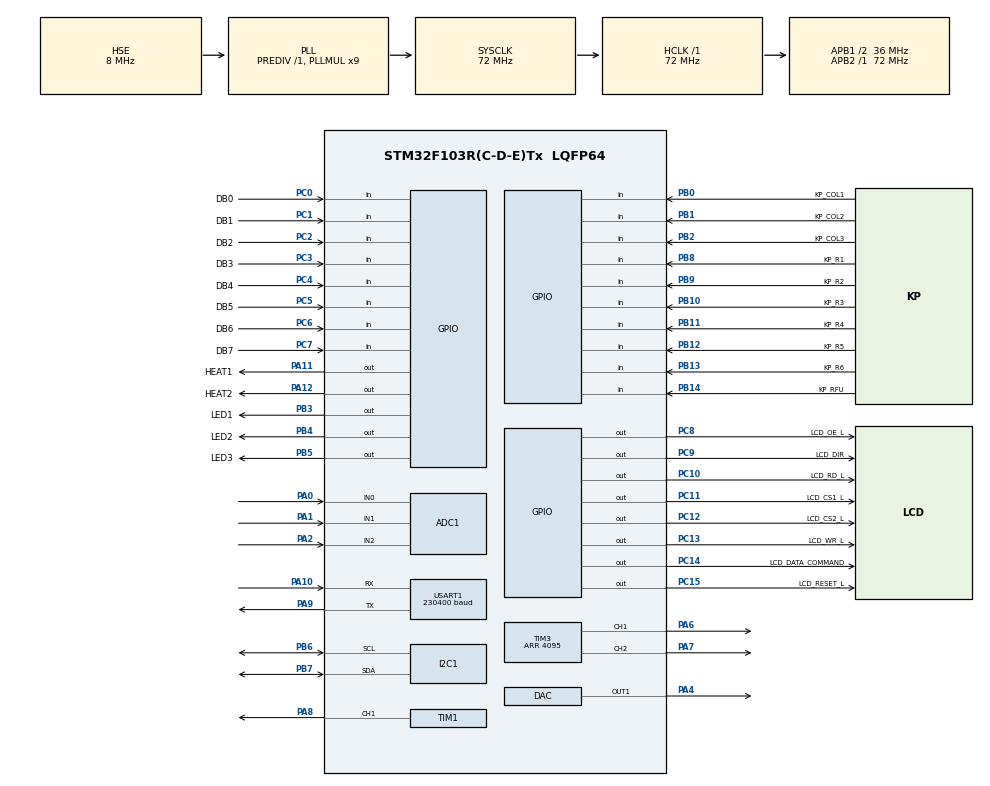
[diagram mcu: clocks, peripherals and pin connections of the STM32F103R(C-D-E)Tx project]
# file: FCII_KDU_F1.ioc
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ADC1.Channel-0\#ChannelRegularConversion=ADC_CHANNEL_0
ADC1.Channel-1\#ChannelRegularConversion=ADC_CHANNEL_1
ADC1.Channel-2\#ChannelRegularConversion=ADC_CHANNEL_2
ADC1.Channel-3\#ChannelRegularConversion=ADC_CHANNEL_TEMPSENSOR
ADC1.ContinuousConvMode=ENABLE
ADC1.ExternalTrigConv=ADC_EXTERNALTRIGCONV_T3_TRGO
ADC1.NbrOfConversion=4
ADC1.NbrOfConversionFlag=1
ADC1.Rank-0\#ChannelRegularConversion=1
ADC1.Rank-1\#ChannelRegularConversion=2
ADC1.Rank-2\#ChannelRegularConversion=3
ADC1.Rank-3\#ChannelRegularConversion=4
ADC1.SamplingTime-0\#ChannelRegularConversion=ADC_SAMPLETIME_239CYCLES_5
ADC1.SamplingTime-1\#ChannelRegularConversion=ADC_SAMPLETIME_239CYCLES_5
ADC1.SamplingTime-2\#ChannelRegularConversion=ADC_SAMPLETIME_239CYCLES_5
ADC1.SamplingTime-3\#ChannelRegularConversion=ADC_SAMPLETIME_239CYCLES_5
ADC1.master=1
Dma.ADC1.2.Direction=DMA_PERIPH_TO_MEMORY
Dma.ADC1.2.Instance=DMA1_Channel1
Dma.ADC1.2.MemDataAlignment=DMA_MDATAALIGN_HALFWORD
Dma.ADC1.2.MemInc=DMA_MINC_ENABLE
Dma.ADC1.2.Mode=DMA_CIRCULAR
Dma.ADC1.2.PeriphDataAlignment=DMA_PDATAALIGN_HALFWORD
Dma.ADC1.2.PeriphInc=DMA_PINC_DISABLE
Dma.ADC1.2.Priority=DMA_PRIORITY_LOW
Dma.Request0=USART1_RX
Dma.Request1=USART1_TX
Dma.Request2=ADC1
Dma.USART1_RX.0.Direction=DMA_PERIPH_TO_MEMORY
Dma.USART1_RX.0.Instance=DMA1_Channel5
Dma.USART1_RX.0.MemDataAlignment=DMA_MDATAALIGN_BYTE
Dma.USART1_RX.0.MemInc=DMA_MINC_ENABLE
Dma.USART1_RX.0.Mode=DMA_CIRCULAR
Dma.USART1_RX.0.PeriphDataAlignment=DMA_PDATAALIGN_BYTE
Dma.USART1_RX.0.PeriphInc=DMA_PINC_DISABLE
Dma.USART1_RX.0.Priority=DMA_PRIORITY_LOW
Dma.USART1_TX.1.Direction=DMA_MEMORY_TO_PERIPH
Dma.USART1_TX.1.Instance=DMA1_Channel4
Dma.USART1_TX.1.MemDataAlignment=DMA_MDATAALIGN_BYTE
Dma.USART1_TX.1.MemInc=DMA_MINC_ENABLE
Dma.USART1_TX.1.Mode=DMA_NORMAL
Dma.USART1_TX.1.PeriphDataAlignment=DMA_PDATAALIGN_BYTE
Dma.USART1_TX.1.PeriphInc=DMA_PINC_DISABLE
Dma.USART1_TX.1.Priority=DMA_PRIORITY_LOW
FREERTOS.HEAP_NUMBER=4
FREERTOS.Tasks01=defaultTask,24,1024,StartDefaultTask,Default,NULL,Dynamic,NULL,NULL;serialTask,8,512,StartserialTask,Default,NULL,Dynamic,NULL,NULL
FREERTOS.configTOTAL_HEAP_SIZE=32768
FREERTOS.configUSE_NEWLIB_REENTRANT=1
IWDG.Prescaler=IWDG_PRESCALER_32
Mcu.Family=STM32F1
Mcu.Name=STM32F103R(C-D-E)Tx
Mcu.Package=LQFP64
NVIC.DMA1_Channel1_IRQn=true\:5\:0\:false\:false\:true\:true\:false\:true\:true
NVIC.DMA1_Channel4_IRQn=true\:5\:0\:false\:false\:true\:true\:false\:true\:true
NVIC.DMA1_Channel5_IRQn=true\:5\:0\:false\:false\:true\:true\:false\:true\:true
NVIC.PriorityGroup=NVIC_PRIORITYGROUP_4
NVIC.TIM8_UP_IRQn=true\:15\:0\:false\:false\:true\:false\:false\:true\:true
NVIC.TimeBase=TIM8_UP_IRQn
NVIC.TimeBaseIP=TIM8
NVIC.USART1_IRQn=true\:5\:0\:false\:false\:true\:true\:true\:true\:true
PA0-WKUP.Signal=ADCx_IN0
PA1.Signal=ADCx_IN1
PA10.Mode=Asynchronous
PA10.Signal=USART1_RX
PA11.GPIO_Label=HEAT1
PA11.Signal=GPIO_Output
PA12.GPIO_Label=HEAT2
PA12.Signal=GPIO_Output
PA13.Mode=Serial_Wire
PA13.Signal=SYS_JTMS-SWDIO
PA14.Mode=Serial_Wire
PA14.Signal=SYS_JTCK-SWCLK
PA2.Signal=ADCx_IN2
PA4.Signal=COMP_DAC1_group
PA6.Signal=S_TIM3_CH1
PA7.Signal=S_TIM3_CH2
PA8.Signal=S_TIM1_CH1
PA9.Mode=Asynchronous
PA9.Signal=USART1_TX
PB0.GPIO_Label=KP_COL1
PB0.Signal=GPIO_Input
PB1.GPIO_Label=KP_COL2
PB1.Signal=GPIO_Input
PB10.GPIO_Label=KP_R3
PB10.Signal=GPIO_Input
PB11.GPIO_Label=KP_R4
PB11.Signal=GPIO_Input
PB12.GPIO_Label=KP_R5
PB12.Signal=GPIO_Input
PB13.GPIO_Label=KP_R6
PB13.Signal=GPIO_Input
PB14.GPIO_Label=KP_RFU
PB14.Signal=GPIO_Input
PB2.GPIO_Label=KP_COL3
PB2.Signal=GPIO_Input
PB3.GPIO_Label=LED1
PB3.Signal=GPIO_Output
PB4.GPIO_Label=LED2
PB4.Signal=GPIO_Output
PB5.GPIO_Label=LED3
PB5.Signal=GPIO_Output
PB6.Mode=I2C
PB6.Signal=I2C1_SCL
PB7.Mode=I2C
PB7.Signal=I2C1_SDA
PB8.GPIO_Label=KP_R1
PB8.Signal=GPIO_Input
PB9.GPIO_Label=KP_R2
PB9.Signal=GPIO_Input
PC0.GPIO_Label=DB0
PC0.Signal=GPIO_Input
PC1.GPIO_Label=DB1
PC1.Signal=GPIO_Input
PC10.GPIO_Label=LCD_RD_L
PC10.PinState=GPIO_PIN_SET
PC10.Signal=GPIO_Output
PC11.GPIO_Label=LCD_CS1_L
PC11.PinState=GPIO_PIN_SET
PC11.Signal=GPIO_Output
PC12.GPIO_Label=LCD_CS2_L
PC12.PinState=GPIO_PIN_SET
PC12.Signal=GPIO_Output
PC13-TAMPER-RTC.GPIO_Label=LCD_WR_L
PC13-TAMPER-RTC.PinState=GPIO_PIN_SET
PC13-TAMPER-RTC.Signal=GPIO_Output
PC14-OSC32_IN.GPIO_Label=LCD_DATA_COMMAND
PC14-OSC32_IN.Signal=GPIO_Output
PC15-OSC32_OUT.GPIO_Label=LCD_RESET_L
PC15-OSC32_OUT.Signal=GPIO_Output
PC2.GPIO_Label=DB2
PC2.Signal=GPIO_Input
PC3.GPIO_Label=DB3
PC3.Signal=GPIO_Input
PC4.GPIO_Label=DB4
PC4.Signal=GPIO_Input
PC5.GPIO_Label=DB5
PC5.Signal=GPIO_Input
PC6.GPIO_Label=DB6
PC6.Signal=GPIO_Input
PC7.GPIO_Label=DB7
PC7.Signal=GPIO_Input
PC8.GPIO_Label=LCD_OE_L
PC8.PinState=GPIO_PIN_SET
PC8.Signal=GPIO_Output
PC9.GPIO_Label=LCD_DIR
PC9.Signal=GPIO_Output
PD0-OSC_IN.Mode=HSE-External-Oscillator
PD0-OSC_IN.Signal=RCC_OSC_IN
PD1-OSC_OUT.Mode=HSE-External-Oscillator
PD1-OSC_OUT.Signal=RCC_OSC_OUT
ProjectManager.HeapSize=0x200
ProjectManager.StackSize=0x400
ProjectManager.TargetToolchain=STM32CubeIDE
RCC.ADCPresc=RCC_ADCPCLK2_DIV6
RCC.AHBFreq_Value=72000000
RCC.APB1CLKDivider=RCC_HCLK_DIV2
RCC.APB1Freq_Value=36000000
RCC.APB1TimFreq_Value=72000000
RCC.APB2Freq_Value=72000000
RCC.APB2TimFreq_Value=72000000
RCC.HCLKFreq_Value=72000000
RCC.PLLMUL=RCC_PLL_MUL9
RCC.PLLSourceVirtual=RCC_PLLSOURCE_HSE
RCC.SYSCLKFreq_VALUE=72000000
RCC.SYSCLKSource=RCC_SYSCLKSOURCE_PLLCLK
RCC.USBFreq_Value=72000000
SH.ADCx_IN0.0=ADC1_IN0,IN0
SH.ADCx_IN1.0=ADC1_IN1,IN1
SH.ADCx_IN2.0=ADC1_IN2,IN2
SH.COMP_DAC1_group.0=DAC_OUT1,DAC_OUT1
SH.S_TIM1_CH1.0=TIM1_CH1,PWM Generation1 CH1
SH.S_TIM3_CH1.0=TIM3_CH1,PWM Generation1 CH1
SH.S_TIM3_CH2.0=TIM3_CH2,PWM Generation2 CH2
TIM1.AutoReloadPreload=TIM_AUTORELOAD_PRELOAD_ENABLE
TIM1.Channel-PWM\ Generation1\ CH1=TIM_CHANNEL_1
TIM1.ClockDivision=TIM_CLOCKDIVISION_DIV4
TIM1.Period=9000
TIM1.Pulse-PWM\ Generation1\ CH1=4500
TIM3.AutoReloadPreload=TIM_AUTORELOAD_PRELOAD_ENABLE
TIM3.Channel-PWM\ Generation1\ CH1=TIM_CHANNEL_1
TIM3.Channel-PWM\ Generation2\ CH2=TIM_CHANNEL_2
TIM3.ClockDivision=TIM_CLOCKDIVISION_DIV4
TIM3.Period=4095
TIM3.TIM_MasterOutputTrigger=TIM_TRGO_UPDATE
USART1.BaudRate=230400
USART1.VirtualMode=VM_ASYNC
VP_ADC1_TempSens_Input.Mode=IN-TempSens
VP_CRC_VS_CRC.Mode=CRC_Activate
VP_FREERTOS_VS_CMSIS_V2.Mode=CMSIS_V2
VP_IWDG_VS_IWDG.Mode=IWDG_Activate
VP_SYS_VS_tim8.Mode=TIM8
VP_TIM1_VS_ClockSourceINT.Mode=Internal
VP_TIM2_VS_ClockSourceINT.Mode=Internal
VP_TIM3_VS_ClockSourceINT.Mode=Internal
board=custom

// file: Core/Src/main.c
/* USER CODE BEGIN Header */
/**
 ******************************************************************************
 * @file           : main.c
 * @brief          : Main program body
 ******************************************************************************
 * @attention
 *
 * Copyright (c) 2024 STMicroelectronics.
 * All rights reserved.
 *
 * This software is licensed under terms that can be found in the LICENSE file
 * in the root directory of this software component.
 * If no LICENSE file comes with this software, it is provided AS-IS.
 *
 ******************************************************************************
 */
/* USER CODE END Header */
#include "main.h"
#include "cmsis_os.h"

/* USER CODE BEGIN Includes */
#include "stdbool.h"
#include "crc32.h"
#include "SSD1500.h"
#include "math.h"
#include "stdio.h"
#include "string.h"
#include "stdlib.h"
#include "KDU.h"
/* USER CODE END Includes */

/* USER CODE BEGIN PD */

#define LCD_WIDTH 122
#define LCD_HEIGHT 4
uint8_t image[LCD_HEIGHT][LCD_WIDTH];

#define ARRAY_LEN(x)            (sizeof(x) / sizeof((x)[0]))
#define MIN(i, j) (((i) < (j)) ? (i) : (j))
#define MAX(i, j) (((i) > (j)) ? (i) : (j))

#define KeypadDebounce 5

extern const unsigned char epd_bitmap_Bootsplash_copy[488];
extern const unsigned char font5x7[1330];

#include "GLCD.h"

DisplayData_t displaydata[2];
volatile DisplayData_t *validdisplay;
volatile DisplayData_t *receivingdisplay;

const char Default_TopLine[32] = "H AF ---- V60 48WBHA T DP- DMR";
const char Default_BotLine[32] = "  BT ---- SCN 123456 T SPX  AM";
const char Default_Freq1Line[21] = " LD1NR Loc. 06 ------";
const char Default_Freq2Line[21] = " ENKJ Traff 01 ------";

char UART1TXBuffer[2048];
char UART1_RX_Buffer[1024];
char UART1_RX_Buffer_Decode[512];
volatile bool ReceivedDisplayData;

reset_cause_t rstcause;

typedef struct
{
	uint8_t SerialNo;
	uint8_t pad;
	uint16_t LCD_Contrast;
	uint32_t _CRC;
} FRAM_Data_t;

FRAM_Data_t poweronfram;
bool poweronframvalid;
FRAM_Data_t writefram;
bool writefram_;
bool writeframok;

/* USER CODE END PD */

ADC_HandleTypeDef hadc1;
DMA_HandleTypeDef hdma_adc1;

CRC_HandleTypeDef hcrc;

DAC_HandleTypeDef hdac;

I2C_HandleTypeDef hi2c1;

IWDG_HandleTypeDef hiwdg;

TIM_HandleTypeDef htim1;
TIM_HandleTypeDef htim2;
TIM_HandleTypeDef htim3;

UART_HandleTypeDef huart1;
DMA_HandleTypeDef hdma_usart1_rx;
DMA_HandleTypeDef hdma_usart1_tx;

/* Definitions for defaultTask */
osThreadId_t defaultTaskHandle;
const osThreadAttr_t defaultTask_attributes =
{ .name = "defaultTask", .stack_size = 1024 * 4, .priority =
		(osPriority_t) osPriorityNormal, };
/* Definitions for serialTask */
osThreadId_t serialTaskHandle;
const osThreadAttr_t serialTask_attributes =
{ .name = "serialTask", .stack_size = 512 * 4, .priority =
		(osPriority_t) osPriorityLow, };

void SystemClock_Config(void);
static void MX_GPIO_Init(void);
static void MX_DMA_Init(void);
static void MX_ADC1_Init(void);
static void MX_DAC_Init(void);
static void MX_USART1_UART_Init(void);
static void MX_I2C1_Init(void);
static void MX_TIM1_Init(void);
static void MX_TIM3_Init(void);
static void MX_TIM2_Init(void);
static void MX_CRC_Init(void);
static void MX_IWDG_Init(void);
void StartDefaultTask(void *argument);
void StartserialTask(void *argument);

/* USER CODE BEGIN PFP */

void InitDisplayData(DisplayData_t *data)
{
	memcpy(&data->TopLine, &Default_TopLine, sizeof(Default_TopLine));
	memcpy(&data->BottomLine, &Default_BotLine, sizeof(Default_BotLine));
	memcpy(&data->Frequency1Line, &Default_Freq1Line,
			sizeof(Default_Freq1Line));
	memcpy(&data->Frequency2Line, &Default_Freq2Line,
			sizeof(Default_Freq2Line));
	data->Arrow1 = 1;
	data->Arrow2 = 0;
	data->TextMode = 0;
	data->Line1BarGraph = 15;
	data->Line1BarGraph2 = -1;
	data->Line2BarGraph = 20;
	data->Line2BarGraph = -1;
	data->TopBarGraph = 4;
	data->TopBarGraph = -1;
	data->BottomBarGraph = 18;
	data->BottomBarGraph = -1;
	data->LCD_Contrast = 2700;
	data->LED = 2;
	data->Backlight = 4095;
	data->Backlight_Minimum = 100;
}

int SerializeArray(uint8_t source, uint8_t datatype, uint16_t size,
		const char *sourceptr, char *outptr, size_t outsize, bool newline)
{
	int count = 0;

	uint32_t crc = xcrc32((const unsigned char*) sourceptr, size, 0);
	// print the start byte and header info
	// : [source] [data type] [size of payload - header] [crc-32] |
	count = snprintf(outptr, outsize, ":%02X%02X%04X%08lX|", source, datatype,
			size, crc);

	int loopcount = 0;

	for (int i = 0; i < size; i++)
	{
		// print one byte as ASCII hex
		// starting at the end of the size field
		loopcount += snprintf((outptr + count) + loopcount,
				outsize - (i * 2) - count, "%02X", (uint8_t) *sourceptr);
		// go to next byte
		sourceptr++;
	}
	// update our array position
	count += loopcount;
	// add end-of-line
	if (newline)
		count += snprintf(outptr + count, outsize - count, "\r\n");
	else
		count += snprintf(outptr + count, outsize - count, "\r");

	return count;
}

void USART1_Process_New_Data(const char *data, size_t len)
{
	static int RXState = 0;
	static int RXBufferIdx = 0;
	const char framestart = ':';
	const char framestop = '\r';
	const int sourceoffset = 1;
	const int messageoffset = 3;
	const int sizeoffset = 5;
	const int crcoffset = 9;
	const int pipeoffset = 17;
	const int payloadoffset = 18;
	for (int i = 0; i < len; i++)
	{
		char newchar = data[i];
		if (newchar == framestart)
		{
			RXState = 1;
			memset(&UART1_RX_Buffer_Decode, 0, sizeof(UART1_RX_Buffer_Decode));
			RXBufferIdx = 0;
		}

		// accumulating characters
		if (RXState == 1)
		{
			// abort if we receive invalid characters
			// allowed characters are: decimal 32-126 (printable range), newline, and carriage return
			if (newchar < 32 || newchar > 126)
				if (newchar != '\n' && newchar != '\r')
					RXState = 0;
			UART1_RX_Buffer_Decode[RXBufferIdx] = newchar;
			RXBufferIdx++;
			if (RXBufferIdx >= sizeof(UART1_RX_Buffer_Decode))
				RXBufferIdx = sizeof(UART1_RX_Buffer_Decode) - 1;
		}

		if (newchar == framestop && UART1_RX_Buffer_Decode[pipeoffset] == '|'
				&& RXState == 1)
		{
			RXState = 2;
			char buf[9];
			memset(buf, 0, sizeof(buf));
			char *end;
			memcpy(buf, &UART1_RX_Buffer_Decode[sourceoffset], 2);
			// decode source, 0=Radio
			int source = strtoul(buf, &end, 16);

			memcpy(buf, &UART1_RX_Buffer_Decode[messageoffset], 2);
			// message ID
			int message = strtoul(buf, &end, 16);

			memcpy(buf, &UART1_RX_Buffer_Decode[sizeoffset], 4);
			// check size of data we've got
			int payloadsize = strtoul(buf, &end, 16);

			memcpy(buf, &UART1_RX_Buffer_Decode[crcoffset], 8);

			uint32_t rxcrc = strtoul(buf, &end, 16);

			memset(buf, 0, sizeof(buf));

			// handle the DisplayData_t message
			if (source == 3 && message == 1
					&& payloadsize == sizeof(DisplayData_t))
			{
				for (int i = 0; i < sizeof(DisplayData_t); i++)
				{
					memcpy(buf,
							&UART1_RX_Buffer_Decode[(i * 2) + payloadoffset],
							2);
					uint8_t byteval = strtoul(buf, &end, 16);
					*((uint8_t*) receivingdisplay + i) = byteval;
				}
				uint32_t crc = xcrc32((uint8_t*) receivingdisplay,
						sizeof(DisplayData_t), 0);
				if (crc == rxcrc)
				{
					// on receiving a valid command, we swap the valid/receiving pointers
					// this avoids any copies etc.
					// though the display could glitch for one cycle if it's swapped during rendering
					// this seems unproblematic, since it would be corrected on the next frame
					volatile DisplayData_t *oldvalid = validdisplay;
					validdisplay = receivingdisplay;
					receivingdisplay = oldvalid;
					ReceivedDisplayData = true;
				}

			}
			/*else if (source == 3 && message == 2 && payloadsize == sizeof(RF5980_CMD2_t))
			 {
			 for (int i = 0; i < sizeof(RF5980_CMD2_t); i++)
			 {
			 memcpy(buf, &UART1_RX_Buffer_Decode[(i*2)+payloadoffset], 2);
			 uint8_t byteval = strtoul(buf, &end, 16);
			 *((uint8_t*)&LastCMD2 + i) = byteval;
			 }
			 uint32_t crc = xcrc32((uint8_t*)&LastCMD2, sizeof(RF5980_CMD2_t), 0);
			 LastCMD2CRCOk = crc == rxcrc;
			 LastCMD2Processed = !LastCMD2CRCOk;
			 }*/
		}
	}
}

void USART1_DMA_New_Data(bool reset)
{
	static size_t old_pos;
	size_t pos;

	if (reset)
	{
		old_pos = 0;
		return;
	}

	/* Calculate current position in buffer */
	pos = ARRAY_LEN(UART1_RX_Buffer) - __HAL_DMA_GET_COUNTER(&hdma_usart1_rx); //LL_DMA_GetDataLength(DMA1, LL_DMA_CHANNEL_5);
	if (pos != old_pos)
	{ /* Check change in received data */
		if (pos > old_pos)
		{ /* Current position is over previous one */
			/* We are in "linear" mode */
			/* Process data directly by subtracting "pointers" */
			USART1_Process_New_Data(&UART1_RX_Buffer[old_pos], pos - old_pos);
		}
		else
		{
			/* We are in "overflow" mode */
			/* First process data to the end of buffer */
			USART1_Process_New_Data(&UART1_RX_Buffer[old_pos],
					ARRAY_LEN(UART1_RX_Buffer) - old_pos);
			/* Check and continue with beginning of buffer */
			if (pos > 0)
			{
				USART1_Process_New_Data(&UART1_RX_Buffer[0], pos);
			}
		}
	}
	old_pos = pos; /* Save current position as old */

	/* Check and manually update if we reached end of buffer */
	if (old_pos == ARRAY_LEN(UART1_RX_Buffer))
	{
		old_pos = 0;
	}
}

bool LoadFRAM(int offset, int bank, FRAM_Data_t *data)
{
	// load F-RAM
	HAL_StatusTypeDef status = HAL_I2C_Mem_Read(&hi2c1, 0xA0 + bank, 0,
			I2C_MEMADD_SIZE_8BIT, (uint8_t*) data, sizeof(FRAM_Data_t), 10);
	uint32_t calculatedcrc = xcrc32((const unsigned char*) data,
			sizeof(FRAM_Data_t) - sizeof(uint32_t), 0);
	return (calculatedcrc == data->_CRC) && status == HAL_OK;
}

bool WriteFRAM(int offset, int bank, FRAM_Data_t *data)
{
	// calculate CRC for write
	data->_CRC = xcrc32((const unsigned char*) data,
			sizeof(FRAM_Data_t) - sizeof(uint32_t), 0);
	// write data
	HAL_StatusTypeDef status = HAL_I2C_Mem_Write(&hi2c1, 0xA0 + bank, offset,
			I2C_MEMADD_SIZE_8BIT, (uint8_t*) data, sizeof(FRAM_Data_t), 10);
	// read back
	FRAM_Data_t verify;
	HAL_I2C_Mem_Read(&hi2c1, 0xA0 + bank, 0, I2C_MEMADD_SIZE_8BIT,
			(uint8_t*) &verify, sizeof(FRAM_Data_t), 10);
	// calculate CRC
	uint32_t readbackcrc = xcrc32((const unsigned char*) &verify,
			sizeof(FRAM_Data_t) - sizeof(uint32_t), 0);
	// return true if both readback ok and write ok
	return (readbackcrc == data->_CRC) && status == HAL_OK;
}

/* USER CODE END PFP */

/* USER CODE BEGIN 0 */

void TimerDelay_Init(void)
{
	uint32_t gu32_ticks = (HAL_RCC_GetHCLKFreq() / 1000000);

	TIM_ClockConfigTypeDef sClockSourceConfig =
	{ 0 };
	TIM_MasterConfigTypeDef sMasterConfig =
	{ 0 };

	htim2.Init.Prescaler = gu32_ticks - 1;
	htim2.Init.CounterMode = TIM_COUNTERMODE_UP;
	htim2.Init.Period = 65535;
	htim2.Init.ClockDivision = TIM_CLOCKDIVISION_DIV1;
	htim2.Init.AutoReloadPreload = TIM_AUTORELOAD_PRELOAD_ENABLE;
	if (HAL_TIM_Base_Init(&htim2) != HAL_OK)
	{
		Error_Handler();
	}
	sClockSourceConfig.ClockSource = TIM_CLOCKSOURCE_INTERNAL;
	if (HAL_TIM_ConfigClockSource(&htim2, &sClockSourceConfig) != HAL_OK)
	{
		Error_Handler();
	}
	sMasterConfig.MasterOutputTrigger = TIM_TRGO_RESET;
	sMasterConfig.MasterSlaveMode = TIM_MASTERSLAVEMODE_DISABLE;
	if (HAL_TIMEx_MasterConfigSynchronization(&htim2, &sMasterConfig) != HAL_OK)
	{
		Error_Handler();
	}

	HAL_TIM_Base_Start(&htim2);
}

void delay_us(uint16_t au16_us)
{
	osKernelLock();
	htim2.Instance->CNT = 0;
	while (htim2.Instance->CNT < au16_us)
		;
	osKernelUnlock();
}

/// @brief      Obtain the STM32 system reset cause
/// @param      None
/// @return     The system reset cause
reset_cause_t reset_cause_get(void)
{
	reset_cause_t reset_cause;
	if (__HAL_RCC_GET_FLAG(RCC_FLAG_LPWRRST))
	{
		reset_cause = RESET_CAUSE_LOW_POWER_RESET;
	}
	else if (__HAL_RCC_GET_FLAG(RCC_FLAG_WWDGRST))
	{
		reset_cause = RESET_CAUSE_WINDOW_WATCHDOG_RESET;
	}
	else if (__HAL_RCC_GET_FLAG(RCC_FLAG_IWDGRST))
	{
		reset_cause = RESET_CAUSE_INDEPENDENT_WATCHDOG_RESET;
	}
	else if (__HAL_RCC_GET_FLAG(RCC_FLAG_SFTRST))
	{
		// This reset is induced by calling the ARM CMSIS
		// `NVIC_SystemReset()` function!
		reset_cause = RESET_CAUSE_SOFTWARE_RESET;
	}
	else if (__HAL_RCC_GET_FLAG(RCC_FLAG_PORRST))
	{
		reset_cause = RESET_CAUSE_POWER_ON_POWER_DOWN_RESET;
	}
	else if (__HAL_RCC_GET_FLAG(RCC_FLAG_PINRST))
	{
		reset_cause = RESET_CAUSE_EXTERNAL_RESET_PIN_RESET;
	}
	// Needs to come *after* checking the `RCC_FLAG_PORRST` flag in order to
	// ensure first that the reset cause is NOT a POR/PDR reset. See note
	// below.
	/*else if (__HAL_RCC_GET_FLAG(RCC_FLAG_BORRST))
	 {
	 reset_cause = RESET_CAUSE_BROWNOUT_RESET;
	 }*/
	else
	{
		reset_cause = RESET_CAUSE_UNKNOWN;
	}

	// Clear all the reset flags or else they will remain set during future
	// resets until system power is fully removed.
	__HAL_RCC_CLEAR_RESET_FLAGS();

	return reset_cause;
}

/* USER CODE END 0 */

int main(void)
{

	/* USER CODE BEGIN 1 */
	__HAL_DBGMCU_FREEZE_IWDG();
	__HAL_DBGMCU_FREEZE_WWDG();
	/* USER CODE END 1 */

	/* MCU Configuration--------------------------------------------------------*/

	/* Reset of all peripherals, Initializes the Flash interface and the Systick. */
	HAL_Init();

	/* USER CODE BEGIN Init */
	rstcause = reset_cause_get();
	/* USER CODE END Init */

	/* Configure the system clock */
	SystemClock_Config();

	/* Initialize all configured peripherals */
	MX_GPIO_Init();
	MX_DMA_Init();
	MX_ADC1_Init();
	MX_DAC_Init();
	MX_USART1_UART_Init();
	MX_I2C1_Init();
	MX_TIM1_Init();
	MX_TIM3_Init();
	MX_TIM2_Init();
	MX_CRC_Init();
	MX_IWDG_Init();
	/* USER CODE BEGIN 2 */
	validdisplay = &displaydata[0];
	receivingdisplay = &displaydata[1];

	// try to read the F-RAM
	poweronframvalid = LoadFRAM(0, 0, &poweronfram);
	if (!poweronframvalid)
		poweronframvalid = LoadFRAM(0, 1, &poweronfram);

	if (!poweronframvalid)
		memset(&poweronfram, 0, sizeof(FRAM_Data_t));
	else
		memcpy(&writefram, &poweronfram, sizeof(FRAM_Data_t));

	/* USER CODE END 2 */

	/* Init scheduler */
	osKernelInitialize();

	/* Create the thread(s) */
	/* creation of defaultTask */
	defaultTaskHandle = osThreadNew(StartDefaultTask, NULL,
			&defaultTask_attributes);

	/* creation of serialTask */
	serialTaskHandle = osThreadNew(StartserialTask, NULL,
			&serialTask_attributes);

	/* Start scheduler */
	osKernelStart();

	/* We should never get here as control is now taken by the scheduler */

	/* Infinite loop */
	while (1)
	{

	}
}

void SystemClock_Config(void)
{
	RCC_OscInitTypeDef RCC_OscInitStruct =
	{ 0 };
	RCC_ClkInitTypeDef RCC_ClkInitStruct =
	{ 0 };
	RCC_PeriphCLKInitTypeDef PeriphClkInit =
	{ 0 };

	/** Initializes the RCC Oscillators according to the specified parameters
	 * in the RCC_OscInitTypeDef structure.
	 */
	RCC_OscInitStruct.OscillatorType = RCC_OSCILLATORTYPE_LSI
			| RCC_OSCILLATORTYPE_HSE;
	RCC_OscInitStruct.HSEState = RCC_HSE_ON;
	RCC_OscInitStruct.HSEPredivValue = RCC_HSE_PREDIV_DIV1;
	RCC_OscInitStruct.HSIState = RCC_HSI_ON;
	RCC_OscInitStruct.LSIState = RCC_LSI_ON;
	RCC_OscInitStruct.PLL.PLLState = RCC_PLL_ON;
	RCC_OscInitStruct.PLL.PLLSource = RCC_PLLSOURCE_HSE;
	RCC_OscInitStruct.PLL.PLLMUL = RCC_PLL_MUL9;
	if (HAL_RCC_OscConfig(&RCC_OscInitStruct) != HAL_OK)
	{
		Error_Handler();
	}

	/** Initializes the CPU, AHB and APB buses clocks
	 */
	RCC_ClkInitStruct.ClockType = RCC_CLOCKTYPE_HCLK | RCC_CLOCKTYPE_SYSCLK
			| RCC_CLOCKTYPE_PCLK1 | RCC_CLOCKTYPE_PCLK2;
	RCC_ClkInitStruct.SYSCLKSource = RCC_SYSCLKSOURCE_PLLCLK;
	RCC_ClkInitStruct.AHBCLKDivider = RCC_SYSCLK_DIV1;
	RCC_ClkInitStruct.APB1CLKDivider = RCC_HCLK_DIV2;
	RCC_ClkInitStruct.APB2CLKDivider = RCC_HCLK_DIV1;

	if (HAL_RCC_ClockConfig(&RCC_ClkInitStruct, FLASH_LATENCY_2) != HAL_OK)
	{
		Error_Handler();
	}
	PeriphClkInit.PeriphClockSelection = RCC_PERIPHCLK_ADC;
	PeriphClkInit.AdcClockSelection = RCC_ADCPCLK2_DIV6;
	if (HAL_RCCEx_PeriphCLKConfig(&PeriphClkInit) != HAL_OK)
	{
		Error_Handler();
	}
}

static void MX_ADC1_Init(void)
{

	ADC_ChannelConfTypeDef sConfig =
	{ 0 };

	/** Common config
	 */
	hadc1.Instance = ADC1;
	hadc1.Init.ScanConvMode = ADC_SCAN_ENABLE;
	hadc1.Init.ContinuousConvMode = ENABLE;
	hadc1.Init.DiscontinuousConvMode = DISABLE;
	hadc1.Init.ExternalTrigConv = ADC_EXTERNALTRIGCONV_T3_TRGO;
	hadc1.Init.DataAlign = ADC_DATAALIGN_RIGHT;
	hadc1.Init.NbrOfConversion = 4;
	if (HAL_ADC_Init(&hadc1) != HAL_OK)
	{
		Error_Handler();
	}

	/** Configure Regular Channel
	 */
	sConfig.Channel = ADC_CHANNEL_0;
	sConfig.Rank = ADC_REGULAR_RANK_1;
	sConfig.SamplingTime = ADC_SAMPLETIME_239CYCLES_5;
	if (HAL_ADC_ConfigChannel(&hadc1, &sConfig) != HAL_OK)
	{
		Error_Handler();
	}

	/** Configure Regular Channel
	 */
	sConfig.Channel = ADC_CHANNEL_1;
	sConfig.Rank = ADC_REGULAR_RANK_2;
	if (HAL_ADC_ConfigChannel(&hadc1, &sConfig) != HAL_OK)
	{
		Error_Handler();
	}

	/** Configure Regular Channel
	 */
	sConfig.Channel = ADC_CHANNEL_2;
	sConfig.Rank = ADC_REGULAR_RANK_3;
	if (HAL_ADC_ConfigChannel(&hadc1, &sConfig) != HAL_OK)
	{
		Error_Handler();
	}

	/** Configure Regular Channel
	 */
	sConfig.Channel = ADC_CHANNEL_TEMPSENSOR;
	sConfig.Rank = ADC_REGULAR_RANK_4;
	if (HAL_ADC_ConfigChannel(&hadc1, &sConfig) != HAL_OK)
	{
		Error_Handler();
	}

}

static void MX_CRC_Init(void)
{

	hcrc.Instance = CRC;
	if (HAL_CRC_Init(&hcrc) != HAL_OK)
	{
		Error_Handler();
	}

}

static void MX_DAC_Init(void)
{

	DAC_ChannelConfTypeDef sConfig =
	{ 0 };

	/** DAC Initialization
	 */
	hdac.Instance = DAC;
	if (HAL_DAC_Init(&hdac) != HAL_OK)
	{
		Error_Handler();
	}

	/** DAC channel OUT1 config
	 */
	sConfig.DAC_Trigger = DAC_TRIGGER_NONE;
	sConfig.DAC_OutputBuffer = DAC_OUTPUTBUFFER_ENABLE;
	if (HAL_DAC_ConfigChannel(&hdac, &sConfig, DAC_CHANNEL_1) != HAL_OK)
	{
		Error_Handler();
	}

}

static void MX_I2C1_Init(void)
{

	hi2c1.Instance = I2C1;
	hi2c1.Init.ClockSpeed = 100000;
	hi2c1.Init.DutyCycle = I2C_DUTYCYCLE_2;
	hi2c1.Init.OwnAddress1 = 0;
	hi2c1.Init.AddressingMode = I2C_ADDRESSINGMODE_7BIT;
	hi2c1.Init.DualAddressMode = I2C_DUALADDRESS_DISABLE;
	hi2c1.Init.OwnAddress2 = 0;
	hi2c1.Init.GeneralCallMode = I2C_GENERALCALL_DISABLE;
	hi2c1.Init.NoStretchMode = I2C_NOSTRETCH_DISABLE;
	if (HAL_I2C_Init(&hi2c1) != HAL_OK)
	{
		Error_Handler();
	}

}

static void MX_IWDG_Init(void)
{

	hiwdg.Instance = IWDG;
	hiwdg.Init.Prescaler = IWDG_PRESCALER_32;
	hiwdg.Init.Reload = 4095;
	if (HAL_IWDG_Init(&hiwdg) != HAL_OK)
	{
		Error_Handler();
	}

}

static void MX_TIM1_Init(void)
{

	TIM_ClockConfigTypeDef sClockSourceConfig =
	{ 0 };
	TIM_MasterConfigTypeDef sMasterConfig =
	{ 0 };
	TIM_OC_InitTypeDef sConfigOC =
	{ 0 };
	TIM_BreakDeadTimeConfigTypeDef sBreakDeadTimeConfig =
	{ 0 };

	htim1.Instance = TIM1;
	htim1.Init.Prescaler = 0;
	htim1.Init.CounterMode = TIM_COUNTERMODE_UP;
	htim1.Init.Period = 9000;
	htim1.Init.ClockDivision = TIM_CLOCKDIVISION_DIV4;
	htim1.Init.RepetitionCounter = 0;
	htim1.Init.AutoReloadPreload = TIM_AUTORELOAD_PRELOAD_ENABLE;
	if (HAL_TIM_Base_Init(&htim1) != HAL_OK)
	{
		Error_Handler();
	}
	sClockSourceConfig.ClockSource = TIM_CLOCKSOURCE_INTERNAL;
	if (HAL_TIM_ConfigClockSource(&htim1, &sClockSourceConfig) != HAL_OK)
	{
		Error_Handler();
	}
	if (HAL_TIM_PWM_Init(&htim1) != HAL_OK)
	{
		Error_Handler();
	}
	sMasterConfig.MasterOutputTrigger = TIM_TRGO_RESET;
	sMasterConfig.MasterSlaveMode = TIM_MASTERSLAVEMODE_DISABLE;
	if (HAL_TIMEx_MasterConfigSynchronization(&htim1, &sMasterConfig) != HAL_OK)
	{
		Error_Handler();
	}
	sConfigOC.OCMode = TIM_OCMODE_PWM1;
	sConfigOC.Pulse = 4500;
	sConfigOC.OCPolarity = TIM_OCPOLARITY_HIGH;
	sConfigOC.OCNPolarity = TIM_OCNPOLARITY_HIGH;
	sConfigOC.OCFastMode = TIM_OCFAST_DISABLE;
	sConfigOC.OCIdleState = TIM_OCIDLESTATE_RESET;
	sConfigOC.OCNIdleState = TIM_OCNIDLESTATE_RESET;
	if (HAL_TIM_PWM_ConfigChannel(&htim1, &sConfigOC, TIM_CHANNEL_1) != HAL_OK)
	{
		Error_Handler();
	}
	sBreakDeadTimeConfig.OffStateRunMode = TIM_OSSR_DISABLE;
	sBreakDeadTimeConfig.OffStateIDLEMode = TIM_OSSI_DISABLE;
	sBreakDeadTimeConfig.LockLevel = TIM_LOCKLEVEL_OFF;
	sBreakDeadTimeConfig.DeadTime = 0;
	sBreakDeadTimeConfig.BreakState = TIM_BREAK_DISABLE;
	sBreakDeadTimeConfig.BreakPolarity = TIM_BREAKPOLARITY_HIGH;
	sBreakDeadTimeConfig.AutomaticOutput = TIM_AUTOMATICOUTPUT_DISABLE;
	if (HAL_TIMEx_ConfigBreakDeadTime(&htim1, &sBreakDeadTimeConfig) != HAL_OK)
	{
		Error_Handler();
	}
	HAL_TIM_MspPostInit(&htim1);

}

static void MX_TIM2_Init(void)
{

	TIM_ClockConfigTypeDef sClockSourceConfig =
	{ 0 };
	TIM_MasterConfigTypeDef sMasterConfig =
	{ 0 };

	htim2.Instance = TIM2;
	htim2.Init.Prescaler = 0;
	htim2.Init.CounterMode = TIM_COUNTERMODE_UP;
	htim2.Init.Period = 65535;
	htim2.Init.ClockDivision = TIM_CLOCKDIVISION_DIV1;
	htim2.Init.AutoReloadPreload = TIM_AUTORELOAD_PRELOAD_DISABLE;
	if (HAL_TIM_Base_Init(&htim2) != HAL_OK)
	{
		Error_Handler();
	}
	sClockSourceConfig.ClockSource = TIM_CLOCKSOURCE_INTERNAL;
	if (HAL_TIM_ConfigClockSource(&htim2, &sClockSourceConfig) != HAL_OK)
	{
		Error_Handler();
	}
	sMasterConfig.MasterOutputTrigger = TIM_TRGO_RESET;
	sMasterConfig.MasterSlaveMode = TIM_MASTERSLAVEMODE_DISABLE;
	if (HAL_TIMEx_MasterConfigSynchronization(&htim2, &sMasterConfig) != HAL_OK)
	{
		Error_Handler();
	}

}

static void MX_TIM3_Init(void)
{

	TIM_ClockConfigTypeDef sClockSourceConfig =
	{ 0 };
	TIM_MasterConfigTypeDef sMasterConfig =
	{ 0 };
	TIM_OC_InitTypeDef sConfigOC =
	{ 0 };

	htim3.Instance = TIM3;
	htim3.Init.Prescaler = 0;
	htim3.Init.CounterMode = TIM_COUNTERMODE_UP;
	htim3.Init.Period = 4095;
	htim3.Init.ClockDivision = TIM_CLOCKDIVISION_DIV4;
	htim3.Init.AutoReloadPreload = TIM_AUTORELOAD_PRELOAD_ENABLE;
	if (HAL_TIM_Base_Init(&htim3) != HAL_OK)
	{
		Error_Handler();
	}
	sClockSourceConfig.ClockSource = TIM_CLOCKSOURCE_INTERNAL;
	if (HAL_TIM_ConfigClockSource(&htim3, &sClockSourceConfig) != HAL_OK)
	{
		Error_Handler();
	}
	if (HAL_TIM_PWM_Init(&htim3) != HAL_OK)
	{
		Error_Handler();
	}
	sMasterConfig.MasterOutputTrigger = TIM_TRGO_UPDATE;
	sMasterConfig.MasterSlaveMode = TIM_MASTERSLAVEMODE_DISABLE;
	if (HAL_TIMEx_MasterConfigSynchronization(&htim3, &sMasterConfig) != HAL_OK)
	{
		Error_Handler();
	}
	sConfigOC.OCMode = TIM_OCMODE_PWM1;
	sConfigOC.Pulse = 0;
	sConfigOC.OCPolarity = TIM_OCPOLARITY_HIGH;
	sConfigOC.OCFastMode = TIM_OCFAST_DISABLE;
	if (HAL_TIM_PWM_ConfigChannel(&htim3, &sConfigOC, TIM_CHANNEL_1) != HAL_OK)
	{
		Error_Handler();
	}
	if (HAL_TIM_PWM_ConfigChannel(&htim3, &sConfigOC, TIM_CHANNEL_2) != HAL_OK)
	{
		Error_Handler();
	}
	HAL_TIM_MspPostInit(&htim3);

}

static void MX_USART1_UART_Init(void)
{

	huart1.Instance = USART1;
	huart1.Init.BaudRate = 230400;
	huart1.Init.WordLength = UART_WORDLENGTH_8B;
	huart1.Init.StopBits = UART_STOPBITS_1;
	huart1.Init.Parity = UART_PARITY_NONE;
	huart1.Init.Mode = UART_MODE_TX_RX;
	huart1.Init.HwFlowCtl = UART_HWCONTROL_NONE;
	huart1.Init.OverSampling = UART_OVERSAMPLING_16;
	if (HAL_UART_Init(&huart1) != HAL_OK)
	{
		Error_Handler();
	}

}

static void MX_DMA_Init(void)
{

	/* DMA controller clock enable */
	__HAL_RCC_DMA1_CLK_ENABLE();

	/* DMA interrupt init */
	/* DMA1_Channel1_IRQn interrupt configuration */
	HAL_NVIC_SetPriority(DMA1_Channel1_IRQn, 5, 0);
	HAL_NVIC_EnableIRQ(DMA1_Channel1_IRQn);
	/* DMA1_Channel4_IRQn interrupt configuration */
	HAL_NVIC_SetPriority(DMA1_Channel4_IRQn, 5, 0);
	HAL_NVIC_EnableIRQ(DMA1_Channel4_IRQn);
	/* DMA1_Channel5_IRQn interrupt configuration */
	HAL_NVIC_SetPriority(DMA1_Channel5_IRQn, 5, 0);
	HAL_NVIC_EnableIRQ(DMA1_Channel5_IRQn);

}

static void MX_GPIO_Init(void)
{
	GPIO_InitTypeDef GPIO_InitStruct =
	{ 0 };

	/* GPIO Ports Clock Enable */
	__HAL_RCC_GPIOC_CLK_ENABLE();
	__HAL_RCC_GPIOD_CLK_ENABLE();
	__HAL_RCC_GPIOA_CLK_ENABLE();
	__HAL_RCC_GPIOB_CLK_ENABLE();

	/*Configure GPIO pin Output Level */
	HAL_GPIO_WritePin(GPIOC,
			LCD_WR_L_Pin | LCD_OE_L_Pin | LCD_RD_L_Pin | LCD_CS1_L_Pin
					| LCD_CS2_L_Pin, GPIO_PIN_SET);

	/*Configure GPIO pin Output Level */
	HAL_GPIO_WritePin(GPIOC,
			LCD_DATA_COMMAND_Pin | LCD_RESET_L_Pin | LCD_DIR_Pin,
			GPIO_PIN_RESET);

	/*Configure GPIO pin Output Level */
	HAL_GPIO_WritePin(GPIOA, HEAT1_Pin | HEAT2_Pin, GPIO_PIN_RESET);

	/*Configure GPIO pin Output Level */
	HAL_GPIO_WritePin(GPIOB, LED1_Pin | LED2_Pin | LED3_Pin, GPIO_PIN_RESET);

	/*Configure GPIO pins : LCD_WR_L_Pin LCD_DATA_COMMAND_Pin LCD_RESET_L_Pin LCD_OE_L_Pin
	 LCD_DIR_Pin LCD_RD_L_Pin LCD_CS1_L_Pin LCD_CS2_L_Pin */
	GPIO_InitStruct.Pin = LCD_WR_L_Pin | LCD_DATA_COMMAND_Pin | LCD_RESET_L_Pin
			| LCD_OE_L_Pin | LCD_DIR_Pin | LCD_RD_L_Pin | LCD_CS1_L_Pin
			| LCD_CS2_L_Pin;
	GPIO_InitStruct.Mode = GPIO_MODE_OUTPUT_PP;
	GPIO_InitStruct.Pull = GPIO_NOPULL;
	GPIO_InitStruct.Speed = GPIO_SPEED_FREQ_LOW;
	HAL_GPIO_Init(GPIOC, &GPIO_InitStruct);

	/*Configure GPIO pins : DB0_Pin DB1_Pin DB2_Pin DB3_Pin
	 DB4_Pin DB5_Pin DB6_Pin DB7_Pin */
	GPIO_InitStruct.Pin = DB0_Pin | DB1_Pin | DB2_Pin | DB3_Pin | DB4_Pin
			| DB5_Pin | DB6_Pin | DB7_Pin;
	GPIO_InitStruct.Mode = GPIO_MODE_INPUT;
	GPIO_InitStruct.Pull = GPIO_NOPULL;
	HAL_GPIO_Init(GPIOC, &GPIO_InitStruct);

	/*Configure GPIO pins : KP_COL1_Pin KP_COL2_Pin KP_COL3_Pin KP_R3_Pin
	 KP_R4_Pin KP_R5_Pin KP_R6_Pin KP_RFU_Pin
	 KP_R1_Pin KP_R2_Pin */
	GPIO_InitStruct.Pin = KP_COL1_Pin | KP_COL2_Pin | KP_COL3_Pin | KP_R3_Pin
			| KP_R4_Pin | KP_R5_Pin | KP_R6_Pin | KP_RFU_Pin | KP_R1_Pin
			| KP_R2_Pin;
	GPIO_InitStruct.Mode = GPIO_MODE_INPUT;
	GPIO_InitStruct.Pull = GPIO_NOPULL;
	HAL_GPIO_Init(GPIOB, &GPIO_InitStruct);

	/*Configure GPIO pins : HEAT1_Pin HEAT2_Pin */
	GPIO_InitStruct.Pin = HEAT1_Pin | HEAT2_Pin;
	GPIO_InitStruct.Mode = GPIO_MODE_OUTPUT_PP;
	GPIO_InitStruct.Pull = GPIO_NOPULL;
	GPIO_InitStruct.Speed = GPIO_SPEED_FREQ_LOW;
	HAL_GPIO_Init(GPIOA, &GPIO_InitStruct);

	/*Configure GPIO pins : LED1_Pin LED2_Pin LED3_Pin */
	GPIO_InitStruct.Pin = LED1_Pin | LED2_Pin | LED3_Pin;
	GPIO_InitStruct.Mode = GPIO_MODE_OUTPUT_PP;
	GPIO_InitStruct.Pull = GPIO_NOPULL;
	GPIO_InitStruct.Speed = GPIO_SPEED_FREQ_LOW;
	HAL_GPIO_Init(GPIOB, &GPIO_InitStruct);

}

/* USER CODE BEGIN Header_StartDefaultTask */
/**
 * @brief  Function implementing the defaultTask thread.
 * @param  argument: Not used
 * @retval None
 */

int16_t PWM;
int16_t bias;

uint8_t lcdret;

KDU_KeyPress_t CurrentKey;

void ReadRows(uint8_t *col)
{
	// this delay is probably not needed
	osDelay(2);
	*col = 0;
	*col |= HAL_GPIO_ReadPin(KP_R1_GPIO_Port, KP_R1_Pin);
	*col |= HAL_GPIO_ReadPin(KP_R2_GPIO_Port, KP_R2_Pin) << 1;
	*col |= HAL_GPIO_ReadPin(KP_R3_GPIO_Port, KP_R3_Pin) << 2;
	*col |= HAL_GPIO_ReadPin(KP_R4_GPIO_Port, KP_R4_Pin) << 3;
	*col |= HAL_GPIO_ReadPin(KP_R5_GPIO_Port, KP_R5_Pin) << 4;
	*col |= HAL_GPIO_ReadPin(KP_R6_GPIO_Port, KP_R6_Pin) << 5;
}

void ScanKeypad(KDU_KeyPress_t *keys)
{
	/* Slow but pretty good keypad scanner
	 * we use tri-stating and pulldowns to properly scan it
	 * As such, it needs to be a little slow to work.
	 * It seems good up to 3 arbitrary keys, but is ambiguous above that*/
	uint8_t col[3];
	GPIO_InitTypeDef GPIO_InitStruct =
	{ 0 };
	GPIO_InitStruct.Speed = GPIO_SPEED_FREQ_LOW;
	GPIO_InitStruct.Pin = KP_R3_Pin | KP_R4_Pin | KP_R5_Pin | KP_R6_Pin
			| KP_RFU_Pin | KP_R1_Pin | KP_R2_Pin;
	GPIO_InitStruct.Mode = GPIO_MODE_INPUT;
	GPIO_InitStruct.Pull = GPIO_PULLDOWN;
	HAL_GPIO_Init(GPIOB, &GPIO_InitStruct);
	GPIO_InitStruct.Pin = KP_COL1_Pin | KP_COL2_Pin | KP_COL3_Pin;
	GPIO_InitStruct.Mode = GPIO_MODE_INPUT;
	GPIO_InitStruct.Pull = GPIO_NOPULL;
	HAL_GPIO_Init(GPIOB, &GPIO_InitStruct);
	GPIO_InitStruct.Pin = KP_COL1_Pin;
	GPIO_InitStruct.Mode = GPIO_MODE_OUTPUT_PP;
	HAL_GPIO_Init(GPIOB, &GPIO_InitStruct);
	HAL_GPIO_WritePin(KP_COL1_GPIO_Port, KP_COL1_Pin, ENABLE);
	ReadRows(&col[0]);
	GPIO_InitStruct.Mode = GPIO_MODE_INPUT;
	HAL_GPIO_Init(GPIOB, &GPIO_InitStruct);
	GPIO_InitStruct.Pin = KP_COL2_Pin;
	GPIO_InitStruct.Mode = GPIO_MODE_OUTPUT_PP;
	HAL_GPIO_Init(GPIOB, &GPIO_InitStruct);
	HAL_GPIO_WritePin(KP_COL2_GPIO_Port, KP_COL2_Pin, ENABLE);
	ReadRows(&col[1]);
	GPIO_InitStruct.Mode = GPIO_MODE_INPUT;
	HAL_GPIO_Init(GPIOB, &GPIO_InitStruct);
	GPIO_InitStruct.Pin = KP_COL3_Pin;
	GPIO_InitStruct.Mode = GPIO_MODE_OUTPUT_PP;
	HAL_GPIO_Init(GPIOB, &GPIO_InitStruct);
	HAL_GPIO_WritePin(KP_COL3_GPIO_Port, KP_COL3_Pin, ENABLE);
	ReadRows(&col[2]);
	GPIO_InitStruct.Mode = GPIO_MODE_INPUT;
	HAL_GPIO_Init(GPIOB, &GPIO_InitStruct);

	keys->bits.Zero = (col[0] & 1) > 0;
	keys->bits.One = (col[0] & 2) > 0;
	keys->bits.Two = (col[0] & 4) > 0;
	keys->bits.Three = (col[0] & 8) > 0;
	keys->bits.LeftArrow = (col[0] & 16) > 0;
	keys->bits.RightArrow = (col[0] & 32) > 0;

	keys->bits.Vol_Plus = (col[1] & 1) > 0;
	keys->bits.Four = (col[1] & 2) > 0;
	keys->bits.Five = (col[1] & 4) > 0;
	keys->bits.Six = (col[1] & 8) > 0;
	keys->bits.CLR = (col[1] & 16) > 0;
	keys->bits.Pre_Plus = (col[1] & 32) > 0;

	keys->bits.Vol_Minus = (col[2] & 1) > 0;
	keys->bits.Seven = (col[2] & 2) > 0;
	keys->bits.Eight = (col[2] & 4) > 0;
	keys->bits.Nine = (col[2] & 8) > 0;
	keys->bits.ENT = (col[2] & 16) > 0;
	keys->bits.Pre_Minus = (col[2] & 32) > 0;
}

/* USER CODE END Header_StartDefaultTask */
void StartDefaultTask(void *argument)
{
	/* USER CODE BEGIN 5 */

	HAL_TIM_PWM_Start(&htim1, TIM_CHANNEL_1); // LCD 2 kHz Clock
	HAL_TIM_PWM_Start(&htim3, TIM_CHANNEL_1); // LCD Backlight PWM
	HAL_TIM_PWM_Start(&htim3, TIM_CHANNEL_2); // Keypad PWM
	PWM = 4095;
	bias = poweronfram.LCD_Contrast;

	HAL_DAC_Start(&hdac, DAC_CHANNEL_1);

	TimerDelay_Init();

	HAL_GPIO_WritePin(LCD_RESET_L_GPIO_Port, LCD_RESET_L_Pin, ENABLE);
	HAL_GPIO_WritePin(LCD_RESET_L_GPIO_Port, LCD_RESET_L_Pin, DISABLE);
	HAL_GPIO_WritePin(LCD_RESET_L_GPIO_Port, LCD_RESET_L_Pin, ENABLE);

	InitLCD(0);
	InitLCD(1);

	HAL_GPIO_WritePin(LCD_CS1_L_GPIO_Port, LCD_CS1_L_Pin, DISABLE);
	HAL_GPIO_WritePin(LCD_CS2_L_GPIO_Port, LCD_CS2_L_Pin, DISABLE);

	uint8_t cnt = 0;

	FillLCD(0xff);

	InitDisplayData(&displaydata[0]);
	InitDisplayData(&displaydata[1]);

	// preset the contrast to auto to use FRAM settings
	validdisplay->LCD_Contrast = -1;

	volatile DisplayData_t *olddata = validdisplay;
	int bootsplashtimer = 300;
	int commtimer = 0;

	/* Infinite loop */
	for (;;)
	{
		HAL_IWDG_Refresh(&hiwdg);
		cnt++;
		HAL_DAC_SetValue(&hdac, DAC_CHANNEL_1, DAC_ALIGN_12B_R, bias);
		HAL_GPIO_TogglePin(LED1_GPIO_Port, LED1_Pin);
		htim3.Instance->CCR1 = PWM;
		htim3.Instance->CCR2 = PWM / 8;

		PWM = validdisplay->Backlight;
		PWM = PWM > 4095 ? 4095 : PWM < 0 ? 0 : PWM;
		if (validdisplay->LCD_Contrast > 0)
			bias = validdisplay->LCD_Contrast;
		else
			bias = writefram.LCD_Contrast;
		bias = bias > 4095 ? 4095 : bias < 0 ? 0 : bias;

		// wait for new data, trying to sync processing with incoming data to reduce latency
		for (int i = 0; i < 5; i++)
		{
			if (validdisplay == olddata)
				osDelay(1);
			else
				break;
		}

		// check no-comm timer, used to go to bootsplash automatically
		commtimer++;
		// tick interval is approx 5 ms (200 Hz), wait approx. 1 minute before restarting
		// in case the problem is local
		if (commtimer > (60 * 200))
			HAL_NVIC_SystemReset();
		// this check relies on the UART RX callback swapping the pointers for us
		if (validdisplay != olddata)
			commtimer = 0;

		olddata = validdisplay;

		// render image based on modes
		memset(&image, 0, sizeof(image));

		if (validdisplay->TextMode == 0 || validdisplay->TextMode == 1)
		{
			for (int i = 0; i < sizeof(validdisplay->Frequency1Line); i++)
				DisplayWriteCharacter5x7(&image[1][(i * 6)],
						&image[1][LCD_WIDTH - 1], (char*) &font5x7,
						validdisplay->Frequency1Line[i], false);
			for (int i = 0; i < sizeof(validdisplay->Frequency2Line); i++)
				DisplayWriteCharacter5x7(&image[2][(i * 6)],
						&image[2][LCD_WIDTH - 1], (char*) &font5x7,
						validdisplay->Frequency2Line[i], false);
		}
		if (validdisplay->TextMode == 1)
		{
			for (int i = 0; i < sizeof(validdisplay->TopLine); i++)
				DisplayWriteCharacter5x7(&image[0][(i * 6)],
						&image[0][LCD_WIDTH - 1], (char*) &font5x7,
						validdisplay->TopLine[i], false);
			for (int i = 0; i < sizeof(validdisplay->BottomLine); i++)
				DisplayWriteCharacter5x7(&image[3][(i * 6)],
						&image[3][LCD_WIDTH - 1], (char*) &font5x7,
						validdisplay->BottomLine[i], false);
		}

		if (validdisplay->TextMode == 0 || validdisplay->TextMode == 2
				|| validdisplay->TextMode == 3)
		{
			for (int i = 0; i < sizeof(validdisplay->TopLine); i++)
				DisplayWriteCharacter4x6(&image[0][1 + (i * 4)],
						&image[0][LCD_WIDTH - 1], validdisplay->TopLine[i]);
			for (int i = 0; i < sizeof(validdisplay->BottomLine); i++)
				DisplayWriteCharacter4x6(&image[3][1 + (i * 4)],
						&image[3][LCD_WIDTH - 1], validdisplay->BottomLine[i]);
		}
		if (validdisplay->TextMode == 2 || validdisplay->TextMode == 3)
		{
			for (int i = 0; i < sizeof(validdisplay->TopLine); i++)
				DisplayWriteCharacter4x6(&image[1][1 + (i * 4)],
						&image[1][LCD_WIDTH - 1],
						validdisplay->Frequency1Line[i]);
			for (int i = 0; i < sizeof(validdisplay->BottomLine); i++)
				DisplayWriteCharacter4x6(&image[2][1 + (i * 4)],
						&image[2][LCD_WIDTH - 1],
						validdisplay->Frequency2Line[i]);
		}

		if (validdisplay->TextMode == 0 || validdisplay->TextMode == 3)
		{
			if (validdisplay->Arrow1 != 0)
				DisplayWriteCharacter5x7(&image[1][0], &image[1][LCD_WIDTH - 1],
						(char*) &font5x7, 16,
						validdisplay->Arrow1 < 0 ? true : false);
			if (validdisplay->Arrow2 != 0)
				DisplayWriteCharacter5x7(&image[2][0], &image[2][LCD_WIDTH - 1],
						(char*) &font5x7, 16,
						validdisplay->Arrow2 < 0 ? true : false);
			// 13 wide bar graph
			if (validdisplay->TopBarGraph >= 0)
				DisplayDrawBarGraph(&image[0][22], &image[0][LCD_WIDTH - 1], 20,
						validdisplay->TopBarGraph, validdisplay->TopBarGraph2);
			if (validdisplay->BottomBarGraph >= 0)
				DisplayDrawBarGraph(&image[3][22], &image[3][LCD_WIDTH - 1], 20,
						validdisplay->BottomBarGraph,
						validdisplay->BottomBarGraph2);

			if (validdisplay->Line1BarGraph >= 0)
				DisplayDrawBarGraph(&image[1][89], &image[1][LCD_WIDTH - 1], 31,
						validdisplay->Line1BarGraph,
						validdisplay->Line1BarGraph2);
			if (validdisplay->Line2BarGraph >= 0)
				DisplayDrawBarGraph(&image[2][89], &image[2][LCD_WIDTH - 1], 31,
						validdisplay->Line2BarGraph,
						validdisplay->Line2BarGraph2);
		}

		// show bootsplash on startup and when loss of comms
		if (bootsplashtimer > 0)
			bootsplashtimer--;

		if (bootsplashtimer > 0 || commtimer > 200)
		{
			memcpy(&image[0][0], &epd_bitmap_Bootsplash_copy[0], LCD_WIDTH);
			memcpy(&image[1][0], &epd_bitmap_Bootsplash_copy[LCD_WIDTH],
					LCD_WIDTH);
			memcpy(&image[2][0], &epd_bitmap_Bootsplash_copy[(LCD_WIDTH * 2)],
					LCD_WIDTH);
			memcpy(&image[3][0], &epd_bitmap_Bootsplash_copy[(LCD_WIDTH * 3)],
					LCD_WIDTH);
		}

		// flash image to LCD
		osKernelLock();
		LCDWriteBitmap((uint8_t*) &image[0]);
		osKernelUnlock();

	}
	/* USER CODE END 5 */
}

void StartserialTask(void *argument)
{
	/* USER CODE BEGIN StartserialTask */

	HAL_UART_Receive_DMA(&huart1, (uint8_t*) &UART1_RX_Buffer,
			sizeof(UART1_RX_Buffer));

	int loopcount = 0;
	int8_t debounce[32] =
	{ 0 };
	KDU_KeyPress_t _lastkeypress =
	{ 0 };
	KDU_KeyPress_t lastreading =
	{ 0 };
	KDU_KeyData_t outputdata =
	{ 0 };

	snprintf(outputdata.BuildDate, sizeof(outputdata.BuildDate), "%s",
			__DATE__);
	snprintf(outputdata.BuildTime, sizeof(outputdata.BuildTime), "%s",
			__TIME__);

	uint32_t LastRXTicks = osKernelGetTickCount();
	uint32_t LastRXTicksDelta = osKernelGetTickCount();
	/* Infinite loop */
	for (;;)
	{
		loopcount++;
		osDelay(5);
		HAL_GPIO_TogglePin(LED2_GPIO_Port, LED2_Pin);

		// read keypad matrix
		lastreading.regval = 0;
		ScanKeypad(&lastreading);

		bool keychange = false;

		// perform debounce, we keep a counter per button that is set high
		// when down, and counts down to 0
		_lastkeypress.regval = CurrentKey.regval;
		CurrentKey.regval = 0;
		for (int i = 0; i < 32; i++)
		{
			bool bitset = (lastreading.regval & 1 << i) > 0;
			if (bitset)
			{
				debounce[i] = KeypadDebounce;
			}
			else if (debounce[i] > 0)
			{
				debounce[i]--;
			}

			if (debounce[i] > 0)
				CurrentKey.regval |= 1 << i;
		}

		// check if we need to send an update
		if (_lastkeypress.regval != CurrentKey.regval)
			keychange = true;

		// output data if a key changed, or approximately every 500 ms
		if (keychange || loopcount % 32 == 0)
		{
			// generate UART TX packet

			// wait for previous transmission to end if still running
			while (huart1.gState != HAL_UART_STATE_READY)
				osDelay(1);

			// load some parameters
			outputdata.KeyMask = CurrentKey;
			outputdata.SequenceCounter++;
			outputdata.TickCount = osKernelGetTickCount();

			// make a bitmask with all keys pressed this sequence
			// this should make us output one ASCII character per key down event
			KDU_KeyPress_t deltapress;
			deltapress.regval = CurrentKey.regval ^ _lastkeypress.regval;
			deltapress.regval &= CurrentKey.regval;

			outputdata.ASCIIKey = KDUKeyPressToASCIIByte(deltapress);

			// load more standard parameters
			outputdata.Backlight = PWM;
			outputdata.Contrast = bias;
			outputdata.ProgrammedContrast = writefram.LCD_Contrast;
			outputdata.SerialNo = writefram.SerialNo;
			outputdata.ResetReason = rstcause;
			outputdata.TicksSinceRX = MIN(
					MAX(osKernelGetTickCount() - LastRXTicks, LastRXTicksDelta),
					UINT16_MAX);

			// signal if the FRAM was ok on startup in bit 0, and bit 1 is high if a write was successfully attempted
			outputdata.FRAMStatus = poweronframvalid | writeframok ? 2 : 0;

			int count = SerializeArray(3, 1, sizeof(KDU_KeyData_t),
					(char*) &outputdata, &UART1TXBuffer[0],
					sizeof(UART1TXBuffer), false);

			HAL_UART_Transmit_DMA(&huart1, (const uint8_t*) UART1TXBuffer,
					count);
		}

		// check for RX errors and reset if so
		bool rxne = __HAL_UART_GET_FLAG(&huart1, UART_FLAG_RXNE);
		bool fe = __HAL_UART_GET_FLAG(&huart1, UART_FLAG_FE);
		if (rxne || fe)
		{
			__HAL_UART_CLEAR_FLAG(&huart1, UART_FLAG_RXNE);
			__HAL_UART_CLEAR_FEFLAG(&huart1);
			HAL_UART_AbortReceive(&huart1);
			//memset(&UART1_RX_Buffer, 0, sizeof(UART1_RX_Buffer));
			HAL_UART_Receive_DMA(&huart1, (uint8_t*) &UART1_RX_Buffer,
					sizeof(UART1_RX_Buffer));
			USART1_DMA_New_Data(true);
		}

		// write the F-RAM two times, hopefully guaranteeing that one will always be readable
		if (validdisplay->WriteFRAM == 1)
		{
			writefram.LCD_Contrast = bias;
			validdisplay->WriteFRAM = false;
			writeframok = true;
			writeframok &= WriteFRAM(0, 0, &writefram);
			writeframok &= WriteFRAM(0, 1, &writefram);
		}

		// check for new UART DMA data and process
		USART1_DMA_New_Data(false);

		if (ReceivedDisplayData)
		{
			LastRXTicksDelta = osKernelGetTickCount() - LastRXTicks;
			LastRXTicks = osKernelGetTickCount();
			ReceivedDisplayData = false;
		}
	}
	/* USER CODE END StartserialTask */
}

void HAL_TIM_PeriodElapsedCallback(TIM_HandleTypeDef *htim)
{
	if (htim->Instance == TIM8)
	{
		HAL_IncTick();
	}
}

void Error_Handler(void)
{
	__disable_irq();
	while (1)
	{
	}
}
